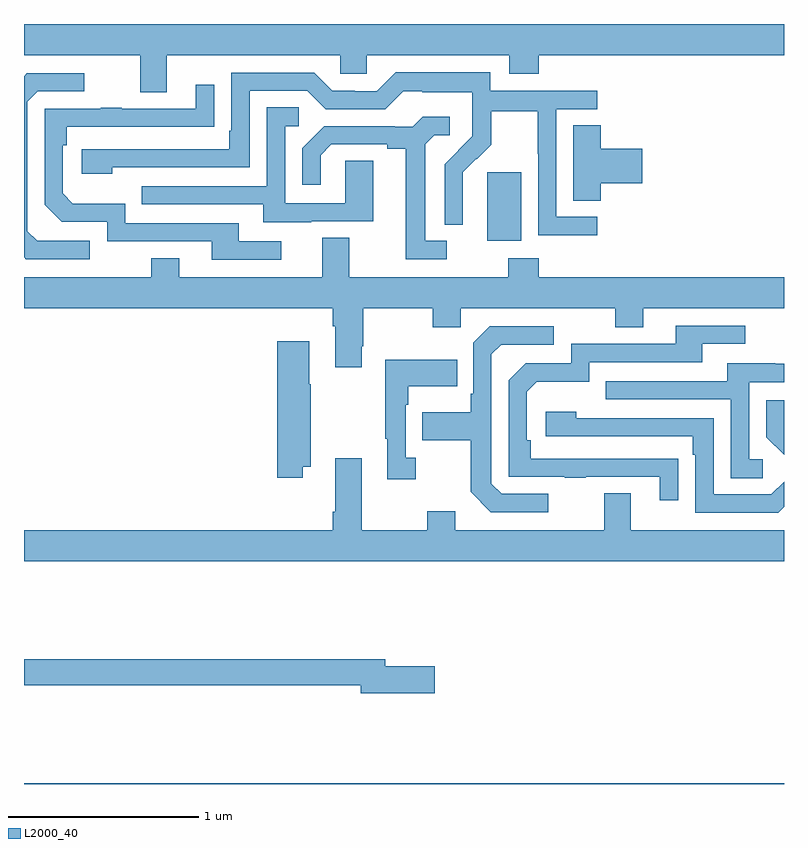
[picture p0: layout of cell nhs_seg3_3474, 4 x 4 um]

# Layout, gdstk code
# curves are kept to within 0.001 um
import gdstk
lib = gdstk.Library(unit=1e-6, precision=1e-09)
def R(c, l, rs):  # rectangles x0, y0, x1, y1
    for r in rs: c.add(gdstk.rectangle(r[:2], r[2:], *l))
def P(c, l, *ps):  # polygons
    for p in ps: c.add(gdstk.Polygon(p, *l))
L2000_40 = (2000, 40)

nhs_seg3_3474 = lib.new_cell('nhs_seg3_3474')
R(nhs_seg3_3474, L2000_40, [(291,710.4,295,710.404), (293.438,713.258,293.617,713.619)])
P(nhs_seg3_3474, L2000_40, [(291.751,714.236),(292.665,714.236),(292.665,714.138),(292.803,714.138),(292.803,714.236),(293.555,714.236),(293.555,714.137),(293.708,714.137),(293.708,714.236),(295,714.236),(295,714.4),(291,714.4),(291,714.236),(291.611,714.236),(291.611,714.042),(291.751,714.042)],
  [(294.016,713.385),(293.802,713.385),(293.802,713.952),(294.016,713.952),(294.016,714.048),(293.454,714.048),(293.454,714.145),(292.957,714.145),(292.857,714.045),(292.742,714.045),(292.742,714.048),(292.623,714.048),(292.527,714.144),(292.092,714.144),(292.092,713.839),(292.079,713.839),(292.079,713.742),(291.303,713.742),(291.303,713.612),(291.464,713.612),(291.464,713.646),(292.188,713.646),(292.188,714.048),(292.491,714.048),(292.587,713.952),(292.902,713.952),(292.995,714.045),(293.095,714.045),(293.095,714.041),(293.358,714.041),(293.358,713.907),(293.36,713.907),(293.36,713.81),(293.214,713.662),(293.214,713.344),(293.31,713.344),(293.309,713.621),(293.379,713.691),(293.382,713.688),(293.459,713.765),(293.459,713.94),(293.704,713.94),(293.704,713.716),(293.706,713.716),(293.706,713.287),(294.016,713.287)],
  [(291.346,713.259),(291.069,713.259),(291.018,713.31),(291.018,713.991),(291.072,714.045),(291.316,714.045),(291.316,714.141),(291.015,714.141),(291,714.126),(291,713.172),(291.009,713.163),(291.346,713.163)],
  [(292.354,713.256),(292.129,713.256),(292.129,713.352),(291.534,713.352),(291.534,713.455),(291.257,713.455),(291.204,713.508),(291.204,713.762),(291.224,713.762),(291.224,713.859),(292.001,713.86),(292.001,714.079),(291.905,714.079),(291.905,713.955),(291.515,713.955),(291.515,713.96),(291.403,713.96),(291.403,713.955),(291.108,713.955),(291.108,713.448),(291.198,713.358),(291.438,713.358),(291.438,713.256),(291.989,713.256),(291.989,713.16),(292.354,713.16)],
  [(292.513,713.361),(292.837,713.361),(292.837,713.681),(292.692,713.681),(292.692,713.457),(292.374,713.457),(292.374,713.862),(292.447,713.862),(292.447,713.963),(292.278,713.963),(292.278,713.547),(291.619,713.547),(291.619,713.451),(292.259,713.451),(292.259,713.357),(292.513,713.357)],
  [(293.224,713.259),(293.113,713.259),(293.113,713.767),(293.16,713.814),(293.242,713.814),(293.242,713.911),(293.098,713.911),(293.046,713.859),(292.952,713.859),(292.952,713.862),(292.58,713.862),(292.464,713.746),(292.464,713.553),(292.561,713.553),(292.561,713.709),(292.618,713.766),(292.913,713.766),(292.913,713.744),(293.009,713.744),(293.009,713.163),(293.224,713.163)],
  [(294.035,713.561),(294.253,713.561),(294.253,713.744),(294.035,713.744),(294.035,713.867),(293.891,713.867),(293.891,713.47),(294.035,713.47)],
  [(292.777,712.705),(292.785,712.705),(292.785,712.904),(293.152,712.904),(293.152,712.805),(293.298,712.805),(293.298,712.904),(294.112,712.904),(294.112,712.805),(294.259,712.805),(294.259,712.904),(295,712.904),(295,713.068),(293.708,713.068),(293.708,713.167),(293.548,713.167),(293.548,713.068),(292.711,713.068),(292.711,713.276),(292.571,713.276),(292.571,713.068),(291.817,713.068),(291.817,713.167),(291.67,713.167),(291.67,713.068),(291,713.068),(291,712.904),(292.625,712.904),(292.625,712.808),(292.637,712.808),(292.637,712.593),(292.777,712.593)],
  [(294.443,712.112),(293.666,712.113),(293.666,712.21),(293.646,712.21),(293.646,712.464),(293.699,712.517),(293.976,712.517),(293.976,712.62),(294.571,712.62),(294.571,712.716),(294.796,712.716),(294.796,712.812),(294.431,712.812),(294.431,712.716),(293.88,712.716),(293.88,712.614),(293.64,712.614),(293.55,712.524),(293.55,712.017),(293.845,712.017),(293.845,712.012),(293.957,712.012),(293.957,712.017),(294.347,712.017),(294.347,711.894),(294.443,711.894)],
  [(293.758,711.927),(293.514,711.927),(293.46,711.981),(293.46,712.662),(293.511,712.713),(293.788,712.713),(293.788,712.809),(293.451,712.809),(293.364,712.722),(293.364,712.453),(293.352,712.453),(293.352,712.357),(293.095,712.357),(293.095,712.21),(293.352,712.21),(293.352,711.937),(293.457,711.831),(293.758,711.831)],
  [(292.468,712.07),(292.509,712.07),(292.509,712.505),(292.501,712.505),(292.501,712.729),(292.334,712.729),(292.334,712.011),(292.468,712.011)],
  [(293.062,712.118),(293.01,712.118),(293.01,712.397),(293.023,712.397),(293.023,712.493),(293.279,712.493),(293.279,712.633),(292.902,712.633),(292.902,712.217),(292.913,712.217),(292.913,712.005),(293.062,712.005)],
  [(294.889,712.11),(294.816,712.11),(294.816,712.515),(295,712.515),(295,712.611),(294.955,712.611),(294.955,712.615),(294.701,712.615),(294.701,712.521),(294.061,712.521),(294.061,712.425),(294.72,712.425),(294.72,712.009),(294.889,712.009)],
  [(295,712.42),(294.906,712.42),(294.906,712.226),(295,712.132)],
  [(295,711.859),(295,711.991),(294.933,711.924),(294.63,711.924),(294.63,712.326),(293.906,712.326),(293.906,712.36),(293.745,712.36),(293.745,712.23),(294.521,712.23),(294.521,712.133),(294.534,712.133),(294.534,711.828),(294.969,711.828)],
  [(292.637,712.114),(292.637,711.832),(292.625,711.832),(292.625,711.736),(291,711.736),(291,711.572),(295,711.572),(295,711.736),(294.193,711.736),(294.193,711.931),(294.053,711.931),(294.053,711.736),(293.269,711.736),(293.269,711.835),(293.122,711.835),(293.122,711.736),(292.777,711.736),(292.777,712.114)],
  [(293.161,711.02),(292.9,711.02),(292.9,711.056),(291,711.056),(291,710.92),(292.772,710.92),(292.772,710.878),(293.161,710.878)])

lib.write_gds('nhs_seg3_3474.gds')
